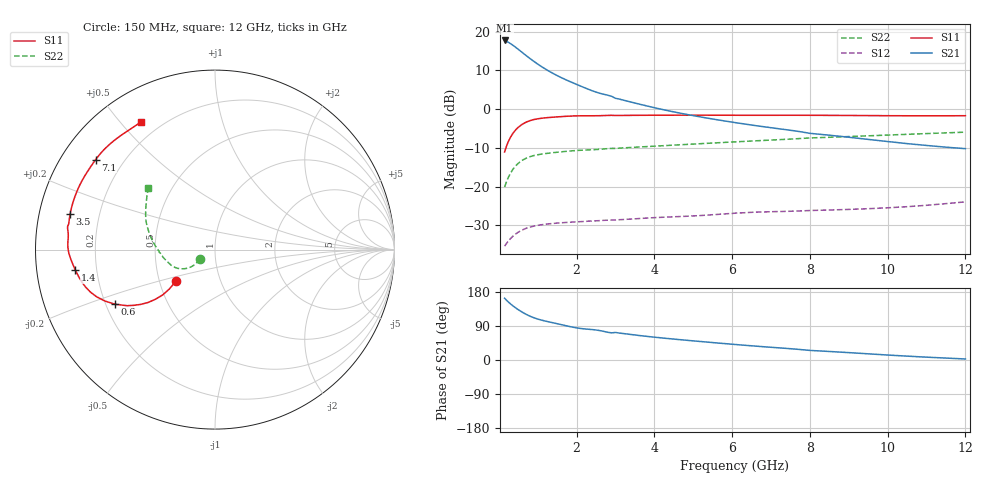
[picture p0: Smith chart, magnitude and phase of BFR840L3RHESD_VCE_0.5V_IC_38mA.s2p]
! Infineon Technologies  Discrete & RF Semiconductors
! BFR840L3RHESD
! VCE =  0.5 V,  IC =  38 mA
! Common Emitter S-Parameters:  Jun 2012
# GHz  S  MA  R  50
!  f  S11  S21  S12  S22
! GHz  MAG  ANG  MAG  ANG  MAG  ANG  MAG  ANG
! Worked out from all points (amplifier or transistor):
!   91 points, 150 MHz to 12 GHz, reference 50 ohm
!   highest |S21| = 17.7 dB at 150 MHz (marker M1)
!   |S21| within 3 dB of that: start of sweep to 590.9 MHz
!   unconditionally stable (mu >= 1): start of sweep to end of sweep
!   at 1.3 GHz: K = 1.85, MAG = 14.3 dB, |S12| = -29.6 dB
!   at 4.3 GHz: K = 3.54, MAG = 5.4 dB, |S12| = -27.9 dB
!   at 12 GHz: K = 6.47, MAG = -4.2 dB, |S12| = -23.9 dB
!   S11 on the Smith chart (normalised r, x): 150 MHz: 0.61, -0.23; 600 MHz: 0.24, -0.24; 1.4 GHz: 0.12, -0.07; 3.5 GHz: 0.09, +0.12; 7.1 GHz: 0.10, +0.33; 12 GHz: 0.13, +0.57
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0.15  0.2806 -141.2  7.672 162.9  0.0171 18.1  0.099 -149.3
0.2  0.3349 -139.2  7.475 157.6  0.0186 20.5  0.1164 -145.3
0.25  0.3858 -139.1  7.247 152.7  0.02 22.4  0.1332 -143.8
0.35  0.4755 -141.7  6.727 144.0  0.0227 24.7  0.1636 -144.2
0.45  0.5498 -145.6  6.176 136.4  0.0249 25.6  0.1889 -146.4
0.6  0.6355 -151.4  5.386 126.4  0.0276 25.1  0.2181 -150.6
0.7  0.6774 -155.0  4.916 120.7  0.029 24.1  0.2324 -153.3
0.8  0.7093 -158.2  4.499 115.7  0.0301 22.9  0.2434 -155.8
0.9  0.7328 -161.1  4.132 111.6  0.031 21.7  0.2517 -158.0
1.1  0.7624 -166.1  3.529 105.2  0.0323 19.6  0.263 -161.8
1.4  0.7868 -171.8  2.875 98.1  0.0336 18.4  0.2744 -166.1
1.8  0.8107 -177.6  2.3 88.8  0.0347 19.1  0.2875 -170.1
2.2  0.8206 177.7  1.892 82.1  0.0356 19.0  0.2962 -173.3
2.9  0.8312 171.1  1.463 71.6  0.0371 20.8  0.3114 -177.5
3  0.8275 170.0  1.378 72.7  0.0371 20.5  0.3113 -178.2
3.5  0.8312 166.1  1.198 66.1  0.0385 21.8  0.3223 179.0
4.2  0.834 161.0  0.991 58.2  0.0403 23.8  0.3368 175.5
6.1  0.8329 148.6  0.667 40.8  0.0456 25.8  0.3787 165.6
7.1  0.8326 143.0  0.567 32.8  0.0477 26.1  0.4012 160.7
8.5  0.8302 135.2  0.461 22.5  0.05 27.2  0.4332 153.1
10.5  0.8206 125.8  0.359 10.2  0.0552 30.8  0.4729 143.7
12  0.8216 120.0  0.309 2.7  0.0637 31.5  0.5045 137.5
